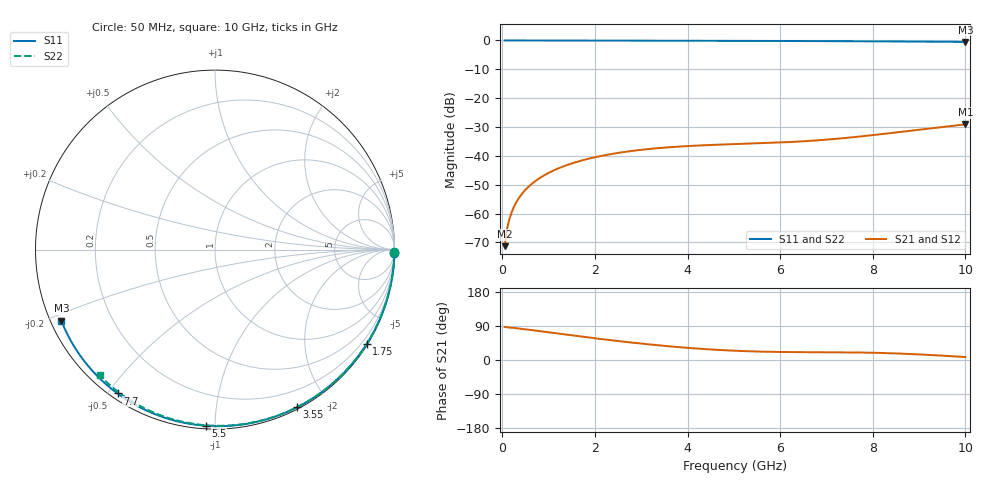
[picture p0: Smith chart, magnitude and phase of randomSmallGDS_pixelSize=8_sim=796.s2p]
! freq	dB(S11)	phase(S11)	dB(S12)	phase(S12)
!  dB(S21)	phase(S21)	dB(S22)	phase(S22)
!S-par simulation data
#  GHz  S  DB  R 50
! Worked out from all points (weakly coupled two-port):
!   200 points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, 50 MHz to 10 GHz, reference 50 ohm
!   highest |S21| = -29.08 dB at 10 GHz (marker M1); lowest = -71.3 dB at 50 MHz (marker M2)
!   lowest |S11| = -0.5 dB at 10 GHz (marker M3), VSWR 34.34, Z = 1.53 - j11 ohm
!   |S11| at or under -10 dB: nowhere
!   |S22| runs from -0.4 to 0.0 dB; largest |S21 - S12| = 0
!   S11 on the Smith chart (normalised r, x): 50 MHz: open; 1.75 GHz: 0.03, -3.51; 3.55 GHz: 0.02, -1.65; 5.5 GHz: 0.02, -0.95; 7.7 GHz: 0.02, -0.53; 10 GHz: 0.03, -0.22
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0.05  -0.00 -0.9  -71.28 87.3  -71.28 87.3  -0.00 -0.8
0.1  -0.00 -1.9  -65.47 86.3  -65.47 86.3  -0.00 -1.6
0.15  -0.00 -2.8  -62.05 85.8  -62.05 85.8  -0.00 -2.3
0.2  -0.00 -3.7  -59.61 85.3  -59.61 85.3  -0.00 -3.1
0.25  -0.00 -4.6  -57.70 84.6  -57.70 84.6  -0.00 -3.9
0.35  -0.00 -6.5  -54.81 83.3  -54.81 83.3  -0.00 -5.5
0.5  -0.01 -9.2  -51.75 81.0  -51.75 81.0  -0.01 -7.8
0.7  -0.01 -12.9  -48.89 77.8  -48.89 77.8  -0.01 -10.9
1  -0.02 -18.3  -45.89 73.0  -45.89 73.0  -0.02 -15.5
1.35  -0.03 -24.6  -43.45 67.4  -43.45 67.4  -0.03 -20.8
1.75  -0.04 -31.8  -41.45 61.1  -41.45 61.1  -0.03 -26.8
2.5  -0.06 -44.9  -38.97 50.0  -38.97 50.0  -0.05 -38.0
3.4  -0.08 -60.1  -37.26 38.4  -37.26 38.4  -0.07 -51.0
3.55  -0.08 -62.5  -37.07 36.7  -37.07 36.7  -0.07 -53.1
4.3  -0.11 -74.6  -36.35 29.4  -36.35 29.4  -0.09 -63.5
5.05  -0.13 -86.2  -35.90 24.3  -35.90 24.3  -0.11 -73.5
5.5  -0.15 -92.9  -35.66 22.4  -35.66 22.4  -0.13 -79.4
6.7  -0.21 -110.3  -34.73 20.6  -34.73 20.6  -0.18 -94.4
7.7  -0.28 -124.1  -33.33 19.8  -33.33 19.8  -0.24 -106.4
8.35  -0.33 -132.9  -32.17 18.0  -32.17 18.0  -0.29 -113.9
9.2  -0.42 -144.4  -30.56 13.5  -30.56 13.5  -0.36 -123.5
10  -0.51 -155.2  -29.08 7.8  -29.08 7.8  -0.44 -132.5
